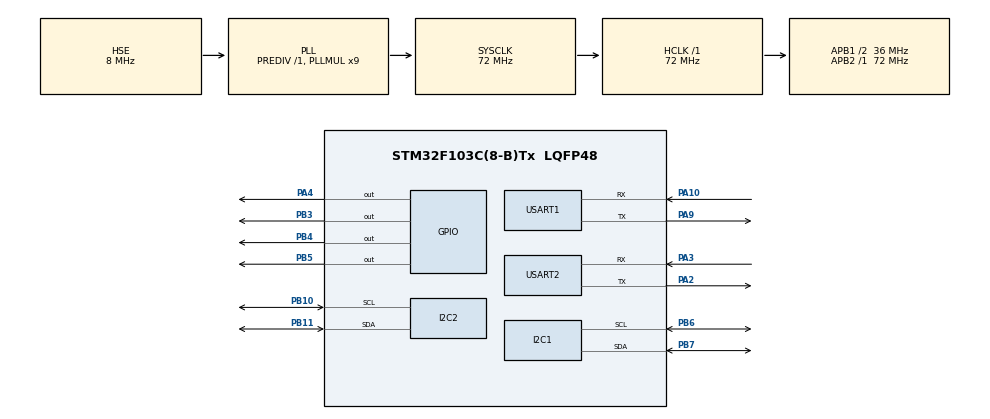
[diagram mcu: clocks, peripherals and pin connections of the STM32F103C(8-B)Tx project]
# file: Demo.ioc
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I2C1.I2C_Mode=I2C_Standard
IWDG.Prescaler=IWDG_PRESCALER_256
IWDG.Reload=781
Mcu.Family=STM32F1
Mcu.Name=STM32F103C(8-B)Tx
Mcu.Package=LQFP48
NVIC.PriorityGroup=NVIC_PRIORITYGROUP_4
NVIC.TIM2_IRQn=true\:0\:0\:false\:false\:true\:true\:true\:true
NVIC.USART1_IRQn=true\:0\:0\:false\:false\:true\:true\:true\:true
NVIC.USART2_IRQn=true\:0\:0\:false\:false\:true\:true\:true\:true
PA10.Mode=Asynchronous
PA10.Signal=USART1_RX
PA13.Mode=Serial_Wire
PA13.Signal=SYS_JTMS-SWDIO
PA14.Mode=Serial_Wire
PA14.Signal=SYS_JTCK-SWCLK
PA2.Mode=Asynchronous
PA2.Signal=USART2_TX
PA3.Mode=Asynchronous
PA3.Signal=USART2_RX
PA4.GPIO_PuPd=GPIO_PULLDOWN
PA4.Signal=GPIO_Output
PA9.Mode=Asynchronous
PA9.Signal=USART1_TX
PB10.Mode=I2C
PB10.Signal=I2C2_SCL
PB11.Mode=I2C
PB11.Signal=I2C2_SDA
PB3.GPIO_PuPd=GPIO_PULLDOWN
PB3.Signal=GPIO_Output
PB4.GPIO_PuPd=GPIO_PULLDOWN
PB4.PinState=GPIO_PIN_RESET
PB4.Signal=GPIO_Output
PB5.GPIO_PuPd=GPIO_PULLUP
PB5.PinState=GPIO_PIN_SET
PB5.Signal=GPIO_Output
PB6.Mode=I2C
PB6.Signal=I2C1_SCL
PB7.Mode=I2C
PB7.Signal=I2C1_SDA
PD0-OSC_IN.Mode=HSE-External-Oscillator
PD0-OSC_IN.Signal=RCC_OSC_IN
PD1-OSC_OUT.Mode=HSE-External-Oscillator
PD1-OSC_OUT.Signal=RCC_OSC_OUT
ProjectManager.HeapSize=0x200
ProjectManager.StackSize=0x400
ProjectManager.TargetToolchain=MDK-ARM V5.32
RCC.AHBFreq_Value=72000000
RCC.APB1CLKDivider=RCC_HCLK_DIV2
RCC.APB1Freq_Value=36000000
RCC.APB1TimFreq_Value=72000000
RCC.APB2Freq_Value=72000000
RCC.APB2TimFreq_Value=72000000
RCC.HCLKFreq_Value=72000000
RCC.PLLMUL=RCC_PLL_MUL9
RCC.PLLSourceVirtual=RCC_PLLSOURCE_HSE
RCC.SYSCLKFreq_VALUE=72000000
RCC.SYSCLKSource=RCC_SYSCLKSOURCE_PLLCLK
RCC.USBFreq_Value=72000000
TIM2.AutoReloadPreload=TIM_AUTORELOAD_PRELOAD_ENABLE
TIM2.Period=4999
TIM2.Prescaler=7199
USART1.VirtualMode=VM_ASYNC
USART2.VirtualMode=VM_ASYNC
VP_IWDG_VS_IWDG.Mode=IWDG_Activate
VP_TIM2_VS_ClockSourceINT.Mode=Internal
board=custom

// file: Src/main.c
/* USER CODE BEGIN Header */
/*
 * @Author: Julian Zyan
 *          zhouyulin_mail@qq.com
 * @Date: 2025-01-01 13:48:34
 * @LastEditors: Julian Zyan
 *               zhouyulin_mail@qq.com
 * @LastEditTime: 2025-03-23 19:50:52
 * @FilePath: \MDK-ARMd:\Project\Demo\Src\main.c
 * @Description:
 *
 * Copyright (c) 2025 by ${git_name_email}, All Rights Reserved.
 */
/**
 ******************************************************************************
 * @file           : main.c
 * @brief          : Main program body
 ******************************************************************************
 * @attention
 *
 * Copyright (c) 2025 STMicroelectronics.
 * All rights reserved.
 *
 * This software is licensed under terms that can be found in the LICENSE file
 * in the root directory of this software component.
 * If no LICENSE file comes with this software, it is provided AS-IS.
 *
 ******************************************************************************
 */
/* USER CODE END Header */
#include "main.h"
#include "i2c.h"
#include "iwdg.h"
#include "tim.h"
#include "usart.h"
#include "gpio.h"

/* USER CODE BEGIN Includes */
#include "My_VL6180.h"
#include "stdio.h"
#include "string.h"
#include "My_mpu6050.h"
#include "DL_LN3X.h"
/* USER CODE END Includes */

/* USER CODE BEGIN PV */

char uart1_send_buffer[2];
char uart2_send_buffer[2];
char uart1_receive_buffer[2];
char uart2_receive_buffer[2];
float Yaw, Pitch, Roll;
uint8_t Range = 0;
uint8_t Sub_Node_Switch = 0;
DL_HandleTypeDef dl_module;

/* USER CODE END PV */

void SystemClock_Config(void);
/* USER CODE BEGIN PFP */

/* 在main.c中添加数据打包发送函数 */
void Send_Sensor_Data(DL_HandleTypeDef *dl, float pitch, float roll, uint8_t range)
{
  // 创建数据缓冲区（注意总长度不能超过63字节）
  uint8_t tx_buf[9]; // 4+4+1=9 bytes

  // 使用memcpy处理浮点数（避免类型转换问题）
  memcpy(&tx_buf[0], &pitch, 4);
  memcpy(&tx_buf[4], &roll, 4);
  tx_buf[8] = range;

  // 发送到主节点
  DL_SendPacket(dl,
                0x80,   // 源端口（用户端口）
                0x80,   // 目的端口（用户端口）
                0x2003, // 主节点地址
                tx_buf,
                sizeof(tx_buf));
  // 添加发送状态检查
  // HAL_StatusTypeDef status = DL_SendPacket(dl, 0x80, 0x80, 0x2026, tx_buf, sizeof(tx_buf));
}

/**
 * @Model_Name:HAL_UART_RxCpltCallback
 * @Code_Description:接收完成回调
 * @param:*huart 串口标识
 * @param:
 * @Author:Julian Zyan
 * @E-Mail:zhouyulin_mail@qq.com
 * @Creat_Time:2025/03/23 21:08:36
 */

void HAL_UART_RxCpltCallback(UART_HandleTypeDef *huart)
{
  if (huart->Instance == USART1)
  {
    // 将串口2接收的1字节数据通过串口1发送
    HAL_UART_Transmit(&huart2, (uint8_t *)uart1_receive_buffer, 1, HAL_MAX_DELAY);

    // 重新开启串口2的单字节中断接收
    HAL_UART_Receive_IT(&huart2, (uint8_t *)uart1_receive_buffer, 1);
  }
  if (huart == dl_module.huart)
  {
    DL_UART_RxCpltCallback(&dl_module);
  }
}

void I2C_Scan(void)
{
  printf("Get in\n");
  uint8_t rec;
  uint8_t data[10];
  for (uint8_t address = 0; address < 255; address++)
  {
    /* code */
    rec = HAL_I2C_Mem_Read(&hi2c2, address, 0, I2C_MEMADD_SIZE_8BIT, data, 1, 1000);
    if (rec == HAL_OK)
    {
      /* code */
      printf("Find device Address is %d\n", address);
      // HAL_Delay(300);
      break;
    }
    else
    {
      printf("failed\n");
    }
  }
  printf("Get off\n");
}

/* USER CODE END PFP */

int main(void)
{
  /* USER CODE BEGIN 1 */
  uint8_t led[] = {0xfe, 0x05, 0x80, 0x20, 0x26, 0x20, 0x32, 0xff};
  /* USER CODE END 1 */

  /* MCU Configuration--------------------------------------------------------*/

  /* Reset of all peripherals, Initializes the Flash interface and the Systick. */
  HAL_Init();

  /* Configure the system clock */
  SystemClock_Config();

  /* Initialize all configured peripherals */
  MX_GPIO_Init();
  MX_USART1_UART_Init();
  MX_USART2_UART_Init();
  MX_I2C1_Init();
  MX_I2C2_Init();
  MX_TIM2_Init();
  MX_IWDG_Init();
  /* USER CODE BEGIN 2 */
  /*使能定时器2中断*/
  HAL_TIM_Base_Start_IT(&htim2);
  // 切换节点
  Sub_Node_Switch = 0;

  // 子节点操作
  Mpu_6050_Init();
  HAL_Delay(10);
  VL6180_Init();
  // HAL_Delay(500);
  // 初始化DL模块
  if (Sub_Node_Switch == 0)
  {
    DL_Init(&dl_module, &huart2, 0x2025);
  }
  else if (Sub_Node_Switch == 1)
  {
    DL_Init(&dl_module, &huart2, 0x2026);
  }
  /**
   * @Code_Description:开启串口接收中断
   * @Creat_Time:2025/03/27 12:09:48
   */
  // HAL_UART_Receive_IT(&huart1, (uint8_t *)uart1_receive_buffer, 1);
  // HAL_UART_Receive_IT(&huart2, (uint8_t *)uart2_receive_buffer, 1);

  /* USER CODE END 2 */

  /* Infinite loop */
  /* USER CODE BEGIN WHILE */
  while (1)
  {
    // 子节点操作
    // 喂狗，不进入reset，否则约每5s复位一次
    HAL_IWDG_Refresh(&hiwdg);

    Mpu_6050_EulerAngle_Measurement();

    Yaw = Mpu_6050_GetYaw();
    Pitch = Mpu_6050_GetPitch();
    Roll = Mpu_6050_GetRoll();

    Range = VL6180_Read_Range();

    /* USER CODE END WHILE */

    /* USER CODE BEGIN 3 */
  } /*  */
  /* USER CODE END 3 */
}

void SystemClock_Config(void)
{
  RCC_OscInitTypeDef RCC_OscInitStruct = {0};
  RCC_ClkInitTypeDef RCC_ClkInitStruct = {0};

  /** Initializes the RCC Oscillators according to the specified parameters
   * in the RCC_OscInitTypeDef structure.
   */
  RCC_OscInitStruct.OscillatorType = RCC_OSCILLATORTYPE_LSI | RCC_OSCILLATORTYPE_HSE;
  RCC_OscInitStruct.HSEState = RCC_HSE_ON;
  RCC_OscInitStruct.HSEPredivValue = RCC_HSE_PREDIV_DIV1;
  RCC_OscInitStruct.HSIState = RCC_HSI_ON;
  RCC_OscInitStruct.LSIState = RCC_LSI_ON;
  RCC_OscInitStruct.PLL.PLLState = RCC_PLL_ON;
  RCC_OscInitStruct.PLL.PLLSource = RCC_PLLSOURCE_HSE;
  RCC_OscInitStruct.PLL.PLLMUL = RCC_PLL_MUL9;
  if (HAL_RCC_OscConfig(&RCC_OscInitStruct) != HAL_OK)
  {
    Error_Handler();
  }

  /** Initializes the CPU, AHB and APB buses clocks
   */
  RCC_ClkInitStruct.ClockType = RCC_CLOCKTYPE_HCLK | RCC_CLOCKTYPE_SYSCLK | RCC_CLOCKTYPE_PCLK1 | RCC_CLOCKTYPE_PCLK2;
  RCC_ClkInitStruct.SYSCLKSource = RCC_SYSCLKSOURCE_PLLCLK;
  RCC_ClkInitStruct.AHBCLKDivider = RCC_SYSCLK_DIV1;
  RCC_ClkInitStruct.APB1CLKDivider = RCC_HCLK_DIV2;
  RCC_ClkInitStruct.APB2CLKDivider = RCC_HCLK_DIV1;

  if (HAL_RCC_ClockConfig(&RCC_ClkInitStruct, FLASH_LATENCY_2) != HAL_OK)
  {
    Error_Handler();
  }
}

/* USER CODE BEGIN 4 */
/**
 * @Model_Name:定时器回调函数
 * @Code_Description:每500ms进入一次，每过1s发送一次传感器数据
 * @Author:Julian Zyan
 * @E-Mail:zhouyulin_mail@qq.com
 * @Creat_Time:2025/04/03 21:35:39
 */
void HAL_TIM_PeriodElapsedCallback(TIM_HandleTypeDef *htim)
{
  static uint8_t send_time = 0;
  if (htim == (&htim2))
  {
    // 子节点
    send_time++;
    if (send_time == 2)
    {
      // 替换原来的printf为DL发送
      Send_Sensor_Data(&dl_module, Pitch, Roll, Range);
      send_time = 0;
    }
  }
}
/* USER CODE END 4 */

void Error_Handler(void)
{
  __disable_irq();
  while (1)
  {
  }
}
